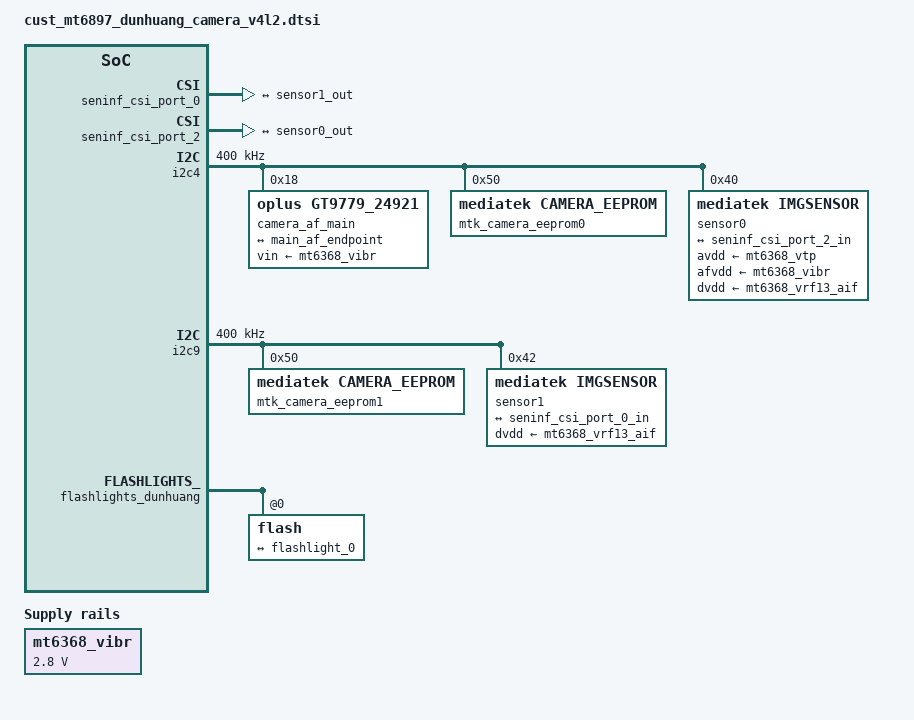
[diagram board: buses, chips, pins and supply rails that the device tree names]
// SPDX-License-Identifier: GPL-2.0-only
/*
* Copyright (C) 2024 Oplus. All rights reserved.
*/

#include <dt-bindings/clock/mt6897-clk.h>

&seninf_top {
    seninf_csi_port_0: seninf-csi-port-0 {
        compatible = "mediatek,seninf";
        csi-port = "0";
        port {
            seninf_csi_port_0_in: endpoint {
                remote-endpoint = <&sensor1_out>;
            };
        };
    };
   seninf_csi_port_2: seninf-csi-port-2 {
        compatible = "mediatek,seninf";
        csi-port = "2";
        port {
            seninf_csi_port_2_in: endpoint {
                remote-endpoint = <&sensor0_out>;
            };
        };
    };
};

&mtk_composite_v4l2_2 {
    port@0 {
        main_af_endpoint: endpoint {
            remote-endpoint = <&main_af>;
        };
    };
};

&pio {
    camera_pins_cam0_mclk_off: camera-pins-cam0-mclk-off {
        pins-cmd-dat {
            pinmux = <PINMUX_GPIO124__FUNC_GPIO124>;
            drive-strength = <1>;
        };
    };
    camera_pins_cam0_mclk_2ma: camera-pins-cam0-mclk-2ma {
        pins-cmd-dat {
            pinmux = <PINMUX_GPIO124__FUNC_CMMCLK1>;
            drive-strength = <0>;
        };
    };
    camera_pins_cam0_mclk_4ma: camera-pins-cam0-mclk-4ma {
        pins-cmd-dat {
            pinmux = <PINMUX_GPIO124__FUNC_CMMCLK1>;
            drive-strength = <1>;
        };
    };
    camera_pins_cam0_mclk_6ma: camera-pins-cam0-mclk-6ma {
        pins-cmd-dat {
            pinmux = <PINMUX_GPIO124__FUNC_CMMCLK1>;
            drive-strength = <2>;
        };
    };
    camera_pins_cam0_mclk_8ma: camera-pins-cam0-mclk-8ma {
        pins-cmd-dat {
            pinmux = <PINMUX_GPIO124__FUNC_CMMCLK1>;
            drive-strength = <3>;
        };
    };
    camera_pins_cam0_rst_low: cam0@0 {
        pins-cmd-dat {
            pinmux = <PINMUX_GPIO116__FUNC_GPIO116>;
            slew-rate = <1>;
            output-low;
        };
    };
    camera_pins_cam0_rst_high: cam0@1 {
        pins-cmd-dat {
            pinmux = <PINMUX_GPIO116__FUNC_GPIO116>;
            slew-rate = <1>;
            output-high;
        };
    };

    camera_pins_cam0_dovdd_off: cam0@2 {
        pins-cmd-dat {
            pinmux = <PINMUX_GPIO125__FUNC_GPIO125>;
            slew-rate = <1>;
            output-low;
        };
    };
    camera_pins_cam0_dovdd_on: cam0@3 {
        pins-cmd-dat {
            pinmux = <PINMUX_GPIO125__FUNC_GPIO125>;
            slew-rate = <1>;
            output-high;
        };
    };

    camera_pins_cam1_mclk_off: camera-pins-cam1-mclk-off {
        pins-cmd-dat {
            pinmux = <PINMUX_GPIO126__FUNC_GPIO126>;
            drive-strength = <1>;
        };
    };
    camera_pins_cam1_mclk_2ma: camera-pins-cam1-mclk-2ma {
        pins-cmd-dat {
            pinmux = <PINMUX_GPIO126__FUNC_CMMCLK3>;
            drive-strength = <0>;
        };
    };
    camera_pins_cam1_mclk_4ma: camera-pins-cam1-mclk-4ma {
        pins-cmd-dat {
            pinmux = <PINMUX_GPIO126__FUNC_CMMCLK3>;
            drive-strength = <1>;
        };
    };
    camera_pins_cam1_mclk_6ma: camera-pins-cam1-mclk-6ma {
        pins-cmd-dat {
            pinmux = <PINMUX_GPIO126__FUNC_CMMCLK3>;
            drive-strength = <2>;
        };
    };
    camera_pins_cam1_mclk_8ma: camera-pins-cam1-mclk-8ma {
        pins-cmd-dat {
            pinmux = <PINMUX_GPIO126__FUNC_CMMCLK3>;
            drive-strength = <3>;
        };
    };
    camera_pins_cam1_rst_low: cam1@0 {
        pins-cmd-dat {
            pinmux = <PINMUX_GPIO118__FUNC_GPIO118>;
            slew-rate = <1>;
            output-low;
        };
    };
    camera_pins_cam1_rst_high: cam1@1 {
        pins-cmd-dat {
            pinmux = <PINMUX_GPIO118__FUNC_GPIO118>;
            slew-rate = <1>;
            output-high;
        };
    };
    camera_pins_cam1_avdd_off: cam1@2 {
        pins-cmd-dat {
            pinmux = <PINMUX_GPIO128__FUNC_GPIO128>;
            slew-rate = <1>;
            output-low;
        };
    };
    camera_pins_cam1_avdd_on: cam1@3 {
        pins-cmd-dat {
            pinmux = <PINMUX_GPIO128__FUNC_GPIO128>;
            slew-rate = <1>;
            output-high;
        };
    };
    camera_pins_cam1_dovdd_off: cam1@4 {
        pins-cmd-dat {
            pinmux = <PINMUX_GPIO125__FUNC_GPIO125>;
            slew-rate = <1>;
            output-low;
        };
    };
    camera_pins_cam1_dovdd_on: cam1@5 {
        pins-cmd-dat {
            pinmux = <PINMUX_GPIO125__FUNC_GPIO125>;
            slew-rate = <1>;
            output-high;
        };
    };
    camera_pins_default: camdefault {
    };
};

/*modify AF Voltage to 2.8V*/
&mt6368_vibr {
    regulator-min-microvolt = <2800000>;
    regulator-max-microvolt = <2800000>;
};

&i2c4 {
    status = "okay";
    clock-frequency = <400000>;
    camera_af_main@18 {
        compatible = "oplus,gt9779_24921";
        reg = <0x18>;
        vin-supply = <&mt6368_vibr>;
        port {
            main_af: endpoint {
                remote-endpoint = <&main_af_endpoint>;
            };
        };
    };
    /* eeprom */
    mtk_camera_eeprom0:camera-eeprom0@50 {
        compatible = "mediatek,camera_eeprom";
        reg = <0x50>;
        status = "okay";
    };
    /* rear */
    sensor0: sensor0@40 {
        compatible = "mediatek,imgsensor";
        sensor-names = "dunhuangmain_mipi_raw";
        reg = <0x40>;
        pinctrl-names = "mclk_off",
                "mclk_2mA",
                "mclk_4mA",
                "mclk_6mA",
                "mclk_8mA",
                "rst_low",
                "rst_high",
                "dovdd_off",
                "dovdd_on";
        pinctrl-0 = <&camera_pins_cam0_mclk_off>;
        pinctrl-1 = <&camera_pins_cam0_mclk_2ma>;
        pinctrl-2 = <&camera_pins_cam0_mclk_4ma>;
        pinctrl-3 = <&camera_pins_cam0_mclk_6ma>;
        pinctrl-4 = <&camera_pins_cam0_mclk_8ma>;
        pinctrl-5 = <&camera_pins_cam0_rst_low>;
        pinctrl-6 = <&camera_pins_cam0_rst_high>;
        pinctrl-7 = <&camera_pins_cam0_dovdd_off>;
        pinctrl-8 = <&camera_pins_cam0_dovdd_on>;

        avdd-supply = <&mt6368_vtp>; //MT6368_LDO_VSYS_VTP
        afvdd-supply = <&mt6368_vibr>; //MT6368_LDO_VIBR
        dvdd-supply = <&mt6368_vrf13_aif>;

        clocks = <&topckgen_clk CLK_TOP_UNIVPLL_192M_D32>,
            <&topckgen_clk CLK_TOP_UNIVPLL_192M_D16>,
            <&topckgen_clk CLK_TOP_F26M_CK_D2>,
            <&topckgen_clk CLK_TOP_UNIVPLL_192M_D10>,
            <&topckgen_clk CLK_TOP_UNIVPLL_192M_D8>,
            <&topckgen_clk CLK_TOP_UNIVPLL_D6_D16>,
            <&topckgen_clk CLK_TOP_UNIVPLL_D6_D8>,
            <&topckgen_clk CLK_TOP_CAMTG2_SEL>;
        clock-names = "6", "12", "13", "19.2", "24", "26", "52", "mclk";

        status = "okay";

        port {
            sensor0_out: endpoint {
                remote-endpoint = <&seninf_csi_port_2_in>;
            };
        };
    };
};

&i2c9 {
    status = "okay";
    clock-frequency = <400000>;
    /* eeprom */
    mtk_camera_eeprom1:camera-eeprom1@50 {
        compatible = "mediatek,camera_eeprom";
        reg = <0x50>;
        status = "okay";
    };
    /* FRONT */
    sensor1: sensor1@42 {
        compatible = "mediatek,imgsensor";
        sensor-names = "dunhuangfront_mipi_raw";
        reg = <0x42>;
        pinctrl-names = "mclk_off",
                "mclk_2mA",
                "mclk_4mA",
                "mclk_6mA",
                "mclk_8mA",
                "rst_low",
                "rst_high",
                "avdd_off",
                "avdd_on",
                "dovdd_off",
                "dovdd_on";
        pinctrl-0 = <&camera_pins_cam1_mclk_off>;
        pinctrl-1 = <&camera_pins_cam1_mclk_2ma>;
        pinctrl-2 = <&camera_pins_cam1_mclk_4ma>;
        pinctrl-3 = <&camera_pins_cam1_mclk_6ma>;
        pinctrl-4 = <&camera_pins_cam1_mclk_8ma>;
        pinctrl-5 = <&camera_pins_cam1_rst_low>;
        pinctrl-6 = <&camera_pins_cam1_rst_high>;
        pinctrl-7 = <&camera_pins_cam1_avdd_off>;
        pinctrl-8 = <&camera_pins_cam1_avdd_on>;
        pinctrl-9 = <&camera_pins_cam1_dovdd_off>;
        pinctrl-10 = <&camera_pins_cam1_dovdd_on>;

        dvdd-supply = <&mt6368_vrf13_aif>;

        clocks = <&topckgen_clk CLK_TOP_UNIVPLL_192M_D32>,
            <&topckgen_clk CLK_TOP_UNIVPLL_192M_D16>,
            <&topckgen_clk CLK_TOP_F26M_CK_D2>,
            <&topckgen_clk CLK_TOP_UNIVPLL_192M_D10>,
            <&topckgen_clk CLK_TOP_UNIVPLL_192M_D8>,
            <&topckgen_clk CLK_TOP_UNIVPLL_D6_D16>,
            <&topckgen_clk CLK_TOP_UNIVPLL_D6_D8>,
            <&topckgen_clk CLK_TOP_CAMTG4_SEL>;
        clock-names = "6", "12", "13", "19.2", "24", "26", "52", "mclk";

        status = "okay";

        port {
            sensor1_out: endpoint {
                remote-endpoint = <&seninf_csi_port_0_in>;
            };
        };
    };
};

&flashlights_dunhuang {
        pinctrl-names = "default",
                "flash_light_en_pin_0",
                "flash_light_en_pin_1",
                "flash_light_flash_pin_0",
                "flash_light_flash_pin_1",
                "flash_light_pwm_pin";

        pinctrl-0 = <&flashlights_dunhuang_pins_default>;
        pinctrl-1 = <&flash_light_en_pin_0>;
        pinctrl-2 = <&flash_light_en_pin_1>;
        pinctrl-3 = <&flash_light_flash_pin_0>;
        pinctrl-4 = <&flash_light_flash_pin_1>;
        pinctrl-5 = <&flash_light_pwm_pin>;

        status = "okay";
		flash@0{
			reg = <0>;
			type = <0>;
			ct = <0>;
			part = <0>;
			port@0 {
				fl_core_0: endpoint {
					remote-endpoint = <&flashlight_0>;
				};
			};
		};
};

&pio {
        flashlights_dunhuang_pins_default:default {
        };
        flash_light_en_pin_0: flash_light_en_pin_0 {
                pins_cmd_dat {
                        pinmux = <PINMUX_GPIO16__FUNC_GPIO16>;
                        slew-rate = <1>;
                        output-low;
                };
        };
        flash_light_en_pin_1: flash_light_en_pin_1 {
                pins_cmd_dat {
                        pinmux = <PINMUX_GPIO16__FUNC_GPIO16>;
                        slew-rate = <1>;
                        output-high;
                };
        };
        flash_light_flash_pin_0: flash_light_flash_pin_0 {
                pins_cmd_dat {
                        pinmux = <PINMUX_GPIO120__FUNC_GPIO120>;
                        slew-rate = <1>;
                        output-low;
                };
        };
        flash_light_flash_pin_1: flash_light_flash_pin_1 {
                pins_cmd_dat {
                        pinmux = <PINMUX_GPIO120__FUNC_GPIO120>;
                        slew-rate = <1>;
                        output-high;
                };
        };
        flash_light_pwm_pin: flash_light_pwm_pin {
                pins_cmd_dat {
                        pinmux = <PINMUX_GPIO120__FUNC_PWM_1>;
                };
        };
};

&mtk_composite_v4l2_1 {
	port@0 {
		flashlight_0: endpoint {
			remote-endpoint = <&fl_core_0>;
		};
	};
};


